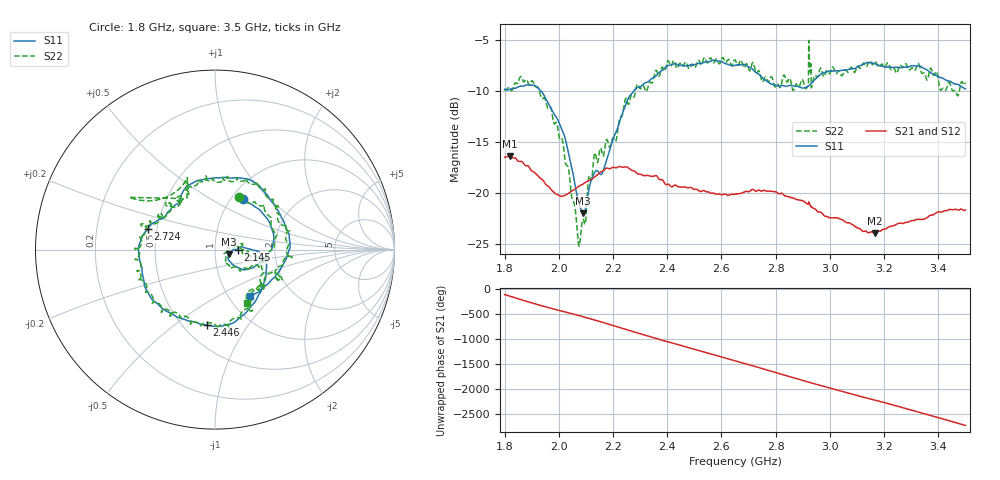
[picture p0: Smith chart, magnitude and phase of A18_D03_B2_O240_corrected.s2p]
! Created with skrf 1.9.0 (http://scikit-rf.org).
# Hz S RI R 50.0
!freq ReS11 ImS11 ReS21 ImS21 ReS12 ImS12 ReS22 ImS22
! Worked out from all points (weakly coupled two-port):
!   1601 points, 1.8 GHz to 3.5 GHz, reference 50 ohm
!   highest |S21| = -16.41 dB at 1.818 GHz (marker M1); lowest = -23.9 dB at 3.165 GHz (marker M2)
!   lowest |S11| = -22.0 dB at 2.09 GHz (marker M3), VSWR 1.17, Z = 58.1 - j2.94 ohm
!   |S11| at or under -10 dB: 1.935 GHz to 2.277 GHz (342.1 MHz wide, 16.2 % of centre)
!   |S22| runs from -25.2 to -5.1 dB; largest |S21 - S12| = 0.0026
!   S11 on the Smith chart (normalised r, x): 1.8 GHz: 1.13, +0.71; 2.145 GHz: 1.29, -0.00; 2.446 GHz: 0.65, -0.66; 2.724 GHz: 0.44, +0.12; 3.5 GHz: 1.26, -0.72
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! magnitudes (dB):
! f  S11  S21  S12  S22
! 1.8 GHz  -9.8  -16.5  -16.5  -9.9
! 1.818 GHz  -9.9  -16.4  -16.4  -9.7
! 1.903 GHz  -9.4  -17.9  -17.9  -9.0
! 1.968 GHz  -11.5  -19.5  -19.6  -11.6
! 2.015 GHz  -14.0  -20.3  -20.3  -15.0
! 2.072 GHz  -20.8  -19.4  -19.4  -24.9
! 2.084 GHz  -21.7  -19.2  -19.2  -23.3
! 2.09 GHz  -22.0  -19.1  -19.2  -22.6
! 2.112 GHz  -19.5  -18.8  -18.8  -18.3
! 2.145 GHz  -17.9  -18.2  -18.1  -16.8
! 2.209 GHz  -14.1  -17.5  -17.5  -14.9
! 2.26 GHz  -10.5  -17.6  -17.6  -11.2
! 2.367 GHz  -8.3  -18.6  -18.5  -8.5
! 2.446 GHz  -7.5  -19.4  -19.4  -7.3
! 2.65 GHz  -7.5  -20.1  -20.1  -6.9
! 2.724 GHz  -8.1  -19.8  -19.8  -7.9
! 2.804 GHz  -9.5  -19.9  -20.0  -9.4
! 2.934 GHz  -9.2  -21.4  -21.4  -9.6
! 3.165 GHz  -7.3  -23.9  -23.9  -7.2
! 3.217 GHz  -7.6  -23.3  -23.3  -7.4
! 3.468 GHz  -9.3  -21.6  -21.6  -10.3
! 3.5 GHz  -9.8  -21.7  -21.7  -9.2
